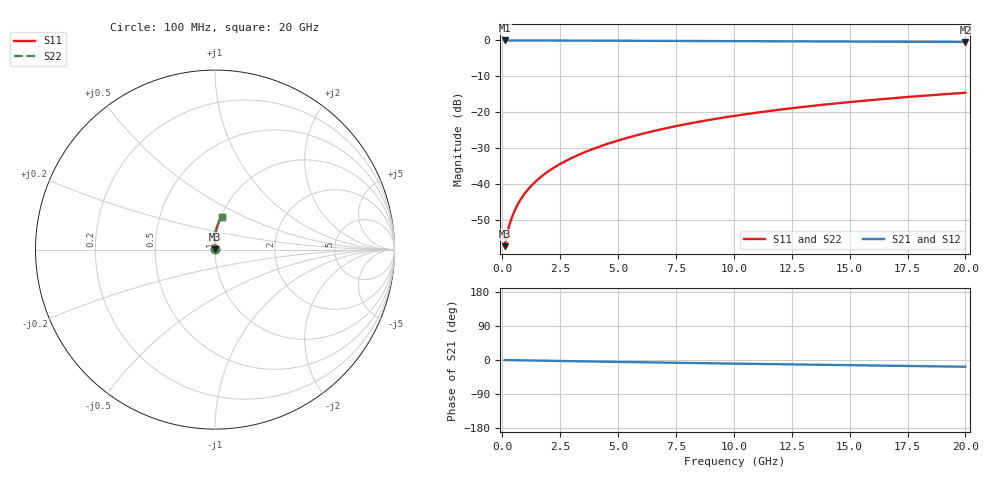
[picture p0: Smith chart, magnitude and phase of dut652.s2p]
! Touchstone file exported from HFSS 2024.1.0
!  File:  C:/UserFiles/LocalFiles/RDL_TSV_Batchsim/temp_RDL_bottom_652_1779785389.aedt
!  Generated:  04:52:50 PM May 26, 2026
!  Design:  RDL_bottom
!  Project:  temp_RDL_bottom_652_1779785389
!  Setup:  Setup1
!  Solution:  Sweep
! Variables:
!  dtsv = 10.80580581um
!  hbump = 3um
!  htsv = 60.77um
!  ldown = 220.41um
!  lrdl = 100um
!  p = 40
!  p1 = 54.93um
!  rhole = 1um
!  t = 450um
!  tdown = 3.4um
!  trdl = 3.915915916um
!  wdown = 26.95um
!  wrdl = 20um
# GHz S MA R 50.000000
! Terminal data exported
! Port[1] = RDL1_T1
! Port[2] = RDL1_T2
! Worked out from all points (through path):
!   200 points, 100 MHz to 20 GHz, reference 50 ohm
!   highest |S21| = -0.01 dB at 100 MHz (marker M1); lowest = -0.4 dB at 20 GHz (marker M2)
!   group delay of S21, straight-line fit = 2.43 ps
!   lowest |S11| = -57.2 dB at 100 MHz (marker M3), VSWR 1.00, Z = 50.1 + j0.0839 ohm
!   |S11| at or under -10 dB: start of sweep to end of sweep
!   |S22| runs from -57.2 to -14.5 dB; largest |S21 - S12| = 5.9e-15
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0.1  0.001388 37.1  0.9989 -0.1  0.9989 -0.1  0.001388 37.1
! Gamma 0 0 0 0
! Port Impedance 50 0 50 0
0.2  0.002009 54.7  0.9988 -0.2  0.9988 -0.2  0.002009 54.7
0.3  0.002693 63.2  0.9987 -0.3  0.9987 -0.3  0.002693 63.2
0.4  0.003389 68.4  0.9987 -0.4  0.9987 -0.4  0.003389 68.4
0.5  0.004091 72.0  0.9986 -0.5  0.9986 -0.5  0.004091 72.0
0.6  0.004799 74.7  0.9985 -0.6  0.9985 -0.6  0.004799 74.7
0.8  0.006237 78.5  0.9984 -0.9  0.9984 -0.9  0.006237 78.5
1.1  0.008438 82.0  0.9981 -1.2  0.9981 -1.2  0.008438 82.0
1.5  0.01144 84.9  0.9977 -1.6  0.9977 -1.6  0.01144 84.9
1.8  0.01373 86.4  0.9973 -1.9  0.9973 -1.9  0.01373 86.4
2.1  0.01607 87.6  0.9968 -2.2  0.9968 -2.2  0.01607 87.6
2.7  0.02086 89.2  0.9957 -2.8  0.9957 -2.8  0.02086 89.2
3.5  0.0275 90.5  0.994 -3.6  0.994 -3.6  0.0275 90.5
4.2  0.03355 91.2  0.9923 -4.3  0.9923 -4.3  0.03355 91.2
5  0.04072 91.5  0.9903 -5.1  0.9903 -5.1  0.04072 91.5
5.9  0.04907 91.5  0.9878 -5.9  0.9878 -5.9  0.04907 91.5
6.8  0.05766 91.2  0.9853 -6.7  0.9853 -6.7  0.05766 91.2
8.4  0.07335 90.2  0.9809 -8.1  0.9809 -8.1  0.07335 90.2
10.1  0.09032 88.7  0.9764 -9.6  0.9764 -9.6  0.09032 88.7
13.4  0.1234 85.3  0.968 -12.4  0.968 -12.4  0.1234 85.3
16.7  0.1559 81.9  0.96 -15.1  0.96 -15.1  0.1559 81.9
20  0.1876 78.5  0.9518 -17.8  0.9518 -17.8  0.1876 78.5
